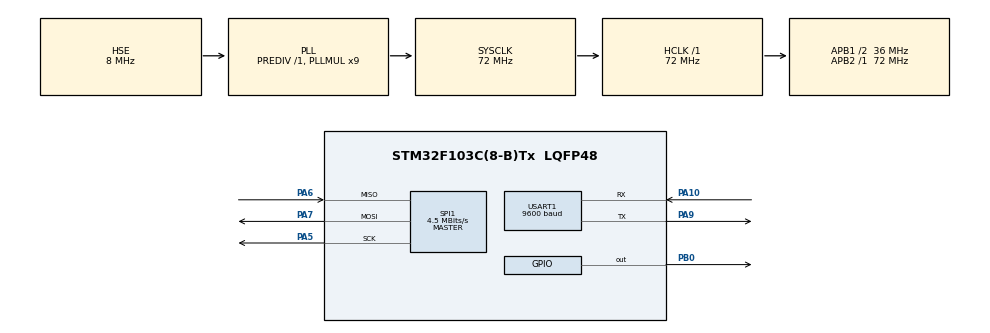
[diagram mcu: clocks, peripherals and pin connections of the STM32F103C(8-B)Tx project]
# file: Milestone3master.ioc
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Mcu.Family=STM32F1
Mcu.Name=STM32F103C(8-B)Tx
Mcu.Package=LQFP48
NVIC.PriorityGroup=NVIC_PRIORITYGROUP_4
PA10.Mode=Asynchronous
PA10.Signal=USART1_RX
PA5.Mode=Full_Duplex_Master
PA5.Signal=SPI1_SCK
PA6.Mode=Full_Duplex_Master
PA6.Signal=SPI1_MISO
PA7.Mode=Full_Duplex_Master
PA7.Signal=SPI1_MOSI
PA9.Mode=Asynchronous
PA9.Signal=USART1_TX
PB0.GPIO_PuPd=GPIO_NOPULL
PB0.PinState=GPIO_PIN_SET
PB0.Signal=GPIO_Output
PD0-OSC_IN.Mode=HSE-External-Oscillator
PD0-OSC_IN.Signal=RCC_OSC_IN
PD1-OSC_OUT.Mode=HSE-External-Oscillator
PD1-OSC_OUT.Signal=RCC_OSC_OUT
ProjectManager.HeapSize=0x200
ProjectManager.StackSize=0x400
ProjectManager.TargetToolchain=STM32CubeIDE
RCC.AHBFreq_Value=72000000
RCC.APB1CLKDivider=RCC_HCLK_DIV2
RCC.APB1Freq_Value=36000000
RCC.APB1TimFreq_Value=72000000
RCC.APB2Freq_Value=72000000
RCC.APB2TimFreq_Value=72000000
RCC.HCLKFreq_Value=72000000
RCC.PLLMUL=RCC_PLL_MUL9
RCC.PLLSourceVirtual=RCC_PLLSOURCE_HSE
RCC.SYSCLKFreq_VALUE=72000000
RCC.SYSCLKSource=RCC_SYSCLKSOURCE_PLLCLK
RCC.USBFreq_Value=72000000
SPI1.BaudRatePrescaler=SPI_BAUDRATEPRESCALER_16
SPI1.CalculateBaudRate=4.5 MBits/s
SPI1.Direction=SPI_DIRECTION_2LINES
SPI1.Mode=SPI_MODE_MASTER
SPI1.VirtualType=VM_MASTER
USART1.BaudRate=9600
USART1.VirtualMode=VM_ASYNC
VP_SYS_VS_ND.Mode=No_Debug
board=custom

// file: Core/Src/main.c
/* USER CODE BEGIN Header */
/**
  ******************************************************************************
  * @file           : main.c
  * @brief          : Main program body
  ******************************************************************************
  * @attention
  *
  * Copyright (c) 2026 STMicroelectronics.
  * All rights reserved.
  *
  ******************************************************************************
  */
/* USER CODE END Header */

#include "main.h"

/* USER CODE BEGIN Includes */

#include <stdio.h>
#include <string.h>

/* USER CODE END Includes */

SPI_HandleTypeDef hspi1;

UART_HandleTypeDef huart1;

/* USER CODE BEGIN PV */

uint8_t uart_rx;

uint16_t case_id;

uint8_t spi_tx[3];
uint8_t spi_rx[3];

uint8_t voltage_x10;
uint16_t wheel_speed;

char msg[100];

/* USER CODE END PV */

void SystemClock_Config(void);
static void MX_GPIO_Init(void);
static void MX_SPI1_Init(void);
static void MX_USART1_UART_Init(void);

int main(void)
{

  /* MCU Configuration--------------------------------------------------------*/

  HAL_Init();

  /* Configure the system clock */
  SystemClock_Config();

  /* Initialize all configured peripherals */
  MX_GPIO_Init();
  MX_SPI1_Init();
  MX_USART1_UART_Init();

  /* USER CODE BEGIN 2 */

  /* Make sure Slave starts deselected */
  HAL_GPIO_WritePin(GPIOB, GPIO_PIN_0, GPIO_PIN_SET);

  /* USER CODE END 2 */

  /* Infinite loop */
  while (1)
  {

    /* USER CODE BEGIN 3 */

    /* Wait for Case ID 1-5 from Virtual Terminal */
    HAL_UART_Receive(&huart1,
                     &uart_rx,
                     1,
                     HAL_MAX_DELAY);

    /* Only accept characters '1' to '5' */
    if (uart_rx >= '1' && uart_rx <= '5')
    {
        /*
         * Convert:
         *
         * '1' -> 0x1001
         * '2' -> 0x1002
         * '3' -> 0x1003
         * '4' -> 0x1004
         * '5' -> 0x1005
         */
        case_id = 0x1000 + (uart_rx - '0');

        /*
         * Prepare the 3-byte SPI message.
         *
         * Example:
         *
         * 0x1003
         *
         * Byte 0 = 0x10
         * Byte 1 = 0x03
         * Byte 2 = 0x00
         */
        spi_tx[0] = (case_id >> 8) & 0xFF;
        spi_tx[1] = case_id & 0xFF;
        spi_tx[2] = 0x00;

        /* =====================================================
         * SPI CYCLE 1
         *
         * Send Case ID to Slave.
         *
         * The response received during this cycle is ignored
         * because the Slave has not prepared the new response yet.
         * =====================================================
         */

        /* CS LOW -> select Slave */
        HAL_GPIO_WritePin(GPIOB,
                          GPIO_PIN_0,
                          GPIO_PIN_RESET);

        HAL_SPI_TransmitReceive(&hspi1,
                                spi_tx,
                                spi_rx,
                                3,
                                HAL_MAX_DELAY);

        /* CS HIGH -> deselect Slave */
        HAL_GPIO_WritePin(GPIOB,
                          GPIO_PIN_0,
                          GPIO_PIN_SET);

        /*
         * Give Slave time to decode Case ID
         * and prepare the new 24-bit response.
         */
        HAL_Delay(10);

        /* =====================================================
         * SPI CYCLE 2
         *
         * Send again.
         *
         * Now the Slave sends the response that corresponds
         * to the Case ID selected above.
         * =====================================================
         */

        /* CS LOW */
        HAL_GPIO_WritePin(GPIOB,
                          GPIO_PIN_0,
                          GPIO_PIN_RESET);

        HAL_SPI_TransmitReceive(&hspi1,
                                spi_tx,
                                spi_rx,
                                3,
                                HAL_MAX_DELAY);

        /* CS HIGH */
        HAL_GPIO_WritePin(GPIOB,
                          GPIO_PIN_0,
                          GPIO_PIN_SET);

        /*
         * 24-bit response format from Slave:
         *
         * spi_rx[0] = Voltage x10
         * spi_rx[1] = Wheel Speed high byte
         * spi_rx[2] = Wheel Speed low byte
         */

        voltage_x10 = spi_rx[0];

        wheel_speed =
            ((uint16_t)spi_rx[1] << 8)
            |
            spi_rx[2];

        /*
         * Example:
         *
         * voltage_x10 = 123
         *
         * 123 / 10 = 12
         * 123 % 10 = 3
         *
         * Displays 12.3 V
         */
        sprintf(msg,
                "Case %c | Voltage = %u.%u V | Wheel Speed = %u\r\n",
                uart_rx,
                voltage_x10 / 10,
                voltage_x10 % 10,
                wheel_speed);

        /* Send result to Virtual Terminal */
        HAL_UART_Transmit(&huart1,
                          (uint8_t *)msg,
                          strlen(msg),
                          HAL_MAX_DELAY);
    }

  }

  /* USER CODE END 3 */
}

void SystemClock_Config(void)
{
  RCC_OscInitTypeDef RCC_OscInitStruct = {0};
  RCC_ClkInitTypeDef RCC_ClkInitStruct = {0};

  RCC_OscInitStruct.OscillatorType = RCC_OSCILLATORTYPE_HSE;
  RCC_OscInitStruct.HSEState = RCC_HSE_ON;
  RCC_OscInitStruct.HSEPredivValue = RCC_HSE_PREDIV_DIV1;
  RCC_OscInitStruct.HSIState = RCC_HSI_ON;
  RCC_OscInitStruct.PLL.PLLState = RCC_PLL_ON;
  RCC_OscInitStruct.PLL.PLLSource = RCC_PLLSOURCE_HSE;
  RCC_OscInitStruct.PLL.PLLMUL = RCC_PLL_MUL9;

  if (HAL_RCC_OscConfig(&RCC_OscInitStruct) != HAL_OK)
  {
    Error_Handler();
  }

  RCC_ClkInitStruct.ClockType =
      RCC_CLOCKTYPE_HCLK |
      RCC_CLOCKTYPE_SYSCLK |
      RCC_CLOCKTYPE_PCLK1 |
      RCC_CLOCKTYPE_PCLK2;

  RCC_ClkInitStruct.SYSCLKSource = RCC_SYSCLKSOURCE_PLLCLK;
  RCC_ClkInitStruct.AHBCLKDivider = RCC_SYSCLK_DIV1;
  RCC_ClkInitStruct.APB1CLKDivider = RCC_HCLK_DIV2;
  RCC_ClkInitStruct.APB2CLKDivider = RCC_HCLK_DIV1;

  if (HAL_RCC_ClockConfig(&RCC_ClkInitStruct,
                          FLASH_LATENCY_2) != HAL_OK)
  {
    Error_Handler();
  }
}

static void MX_SPI1_Init(void)
{

  hspi1.Instance = SPI1;
  hspi1.Init.Mode = SPI_MODE_MASTER;
  hspi1.Init.Direction = SPI_DIRECTION_2LINES;
  hspi1.Init.DataSize = SPI_DATASIZE_8BIT;
  hspi1.Init.CLKPolarity = SPI_POLARITY_LOW;
  hspi1.Init.CLKPhase = SPI_PHASE_1EDGE;
  hspi1.Init.NSS = SPI_NSS_SOFT;
  hspi1.Init.BaudRatePrescaler = SPI_BAUDRATEPRESCALER_16;
  hspi1.Init.FirstBit = SPI_FIRSTBIT_MSB;
  hspi1.Init.TIMode = SPI_TIMODE_DISABLE;
  hspi1.Init.CRCCalculation = SPI_CRCCALCULATION_DISABLE;
  hspi1.Init.CRCPolynomial = 10;

  if (HAL_SPI_Init(&hspi1) != HAL_OK)
  {
    Error_Handler();
  }

}

static void MX_USART1_UART_Init(void)
{

  huart1.Instance = USART1;
  huart1.Init.BaudRate = 9600;
  huart1.Init.WordLength = UART_WORDLENGTH_8B;
  huart1.Init.StopBits = UART_STOPBITS_1;
  huart1.Init.Parity = UART_PARITY_NONE;
  huart1.Init.Mode = UART_MODE_TX_RX;
  huart1.Init.HwFlowCtl = UART_HWCONTROL_NONE;
  huart1.Init.OverSampling = UART_OVERSAMPLING_16;

  if (HAL_UART_Init(&huart1) != HAL_OK)
  {
    Error_Handler();
  }

}

static void MX_GPIO_Init(void)
{
  GPIO_InitTypeDef GPIO_InitStruct = {0};

  /* GPIO Ports Clock Enable */
  __HAL_RCC_GPIOD_CLK_ENABLE();
  __HAL_RCC_GPIOA_CLK_ENABLE();
  __HAL_RCC_GPIOB_CLK_ENABLE();

  /* PB0 starts HIGH because CS is active LOW */
  HAL_GPIO_WritePin(GPIOB,
                    GPIO_PIN_0,
                    GPIO_PIN_SET);

  /* Configure PB0 as GPIO output */
  GPIO_InitStruct.Pin = GPIO_PIN_0;
  GPIO_InitStruct.Mode = GPIO_MODE_OUTPUT_PP;
  GPIO_InitStruct.Pull = GPIO_NOPULL;
  GPIO_InitStruct.Speed = GPIO_SPEED_FREQ_LOW;

  HAL_GPIO_Init(GPIOB,
                &GPIO_InitStruct);

}

void Error_Handler(void)
{
  __disable_irq();
  while (1)
  {
  }
}
